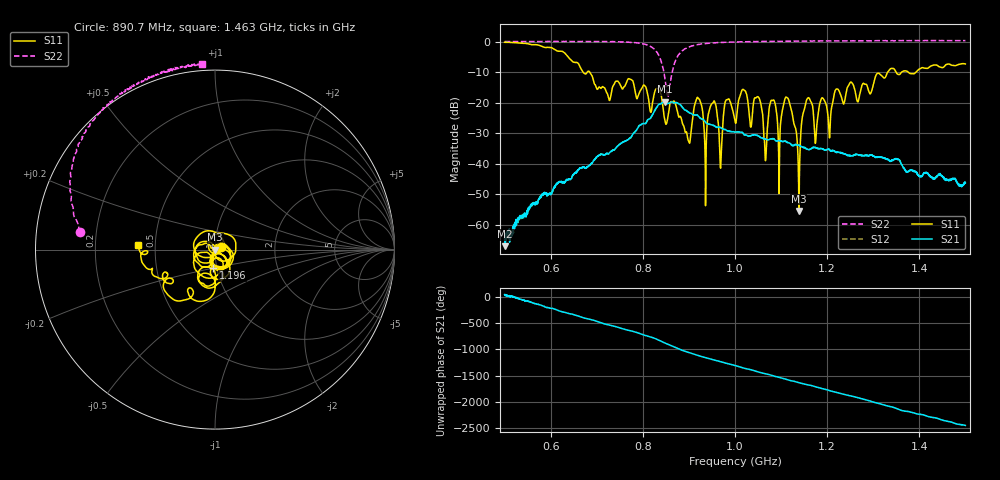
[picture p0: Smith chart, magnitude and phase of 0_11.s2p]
!Keysight Technologies,N5242B,MY48420860,A.13.80.08
!Date: Saturday, September 26, 2020 11:40:34
!Correction: S11(Full 2 Port(1,2))
!S21(Full 2 Port(1,2))
!S12(Full 2 Port(1,2))
!S22(Full 2 Port(1,2))
!S2P File: Measurements: S11, S21, S12, S22:
# Hz S  dB  R 50
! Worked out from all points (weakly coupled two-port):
!   2650 points, 500 MHz to 1.5 GHz, reference 50 ohm
!   highest |S21| = -19.71 dB at 847.3 MHz (marker M1); lowest = -66.9 dB at 501.5 MHz (marker M2)
!   lowest |S11| = -55.4 dB at 1.139 GHz (marker M3), VSWR 1.00, Z = 50.2 - j0.0228 ohm
!   |S11| at or under -10 dB: 684.6 MHz to 1.331 GHz (646.7 MHz wide, 64.2 % of centre); 1.349 GHz to 1.362 GHz (12.27 MHz wide, 0.905 % of centre); 1.376 GHz to 1.393 GHz (16.94 MHz wide, 1.22 % of centre) (the widest 3 of 4)
!   |S22| runs from -18.2 to 0.3 dB; largest |S21 - S12| = 0.00041
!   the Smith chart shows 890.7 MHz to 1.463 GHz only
!   S11 on the Smith chart (normalised r, x): 890.7 MHz: 1.07, +0.04; 1.196 GHz: 0.96, -0.20; 1.463 GHz: 0.40, +0.02
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5e8  -0.25 -166.3  -64.47 44.2  -63.87 42.2  -0.01 147.4
5.0151e8  -0.26 -167.1  -66.91 41.4  -63.09 32.9  -0.01 147.3
6.038128e8  -2.17 126.5  -48.73 139.1  -48.86 140.1  0.00 139.1
6.668554e8  -9.16 77.0  -41.30 -26.8  -41.33 -26.7  -0.00 132.7
8.337108e8  -15.50 4.6  -20.69 -102.8  -20.70 -102.8  -4.25 64.5
8.473009e8  -25.37 -30.7  -19.71 -160.0  -19.73 -160.0  -11.46 23.2
8.907135e8  -28.79 27.3  -22.36 45.0  -22.39 44.9  -2.43 172.5
9.19026e8  -18.27 20.3  -24.15 -35.0  -24.18 -35.1  -1.00 155.2
9.356361e8  -43.31 -111.5  -26.26 -81.2  -26.27 -81.2  -0.69 149.1
9.518686e8  -20.10 -40.2  -27.38 -117.2  -27.38 -117.3  -0.48 144.6
1.000189e9  -26.02 -93.0  -29.63 130.1  -29.63 130.3  -0.15 135.9
1.050019e9  -18.06 -160.2  -30.85 9.1  -30.86 9.1  -0.04 129.5
1.066251e9  -38.94 -155.7  -31.95 -27.2  -31.95 -27.5  0.02 127.6
1.078709e9  -19.23 -147.3  -31.84 -54.5  -31.83 -54.6  0.04 126.5
1.096074e9  -43.65 -58.4  -32.42 -96.3  -32.42 -96.3  0.05 124.7
1.113062e9  -18.35 138.8  -33.00 -138.4  -32.96 -138.8  0.11 123.1
1.138732e9  -55.42 -7.7  -33.85 163.6  -33.94 163.4  0.13 120.7
1.166667e9  -20.23 -89.3  -34.86 106.8  -34.87 106.8  0.12 118.3
1.195734e9  -19.78 -96.0  -35.56 36.1  -35.51 36.1  0.14 115.9
1.333522e9  -9.58 -121.9  -38.64 71.9  -38.77 72.3  0.30 104.7
1.463382e9  -7.35 176.7  -45.55 143.6  -45.23 142.5  0.31 94.0
1.5e9  -7.33 163.7  -46.15 67.2  -46.14 66.3  0.30 90.8
